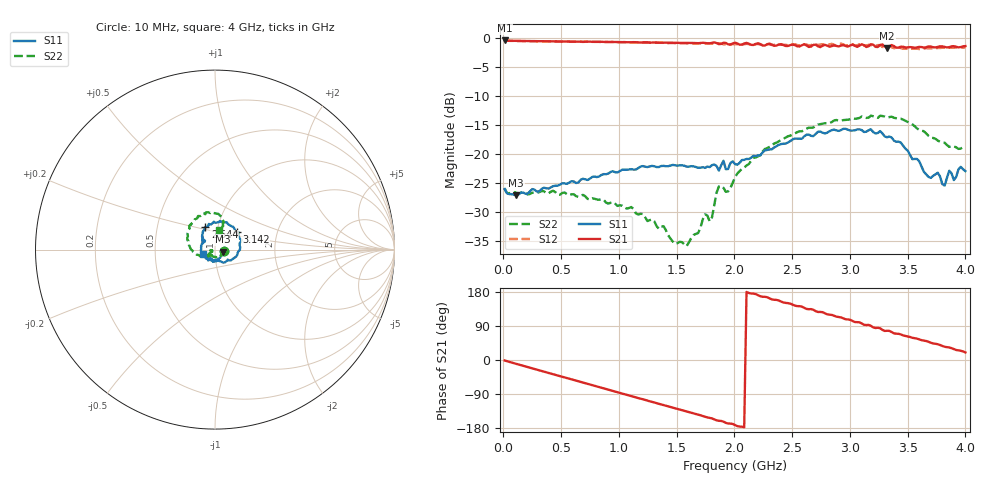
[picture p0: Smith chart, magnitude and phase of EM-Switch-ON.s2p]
! 9/28/2016 3:24:29 PM
! C:\USERS\ANRITSUUSER\DESKTOP\SWITCHES\EM-SWITCH-ON.S2P
! CHANNEL.1
! TR.MEASUREMENT
! CORRECTED.DATA
# GHZ S RI R 50.0
! FREQ.GHZ  S11RE  S11IM  S21RE  S21IM  S12RE  S12IM  S22RE  S22IM
!; PortSelection: Port_12
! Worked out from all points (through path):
!   201 points, 10 MHz to 4 GHz, reference 50 ohm
!   highest |S21| = -0.48 dB at 10 MHz (marker M1); lowest = -1.8 dB at 3.322 GHz (marker M2)
!   group delay of S21, straight-line fit = 235 ps
!   lowest |S11| = -27.1 dB at 109.8 MHz (marker M3), VSWR 1.09, Z = 54.5 - j1.16 ohm
!   |S11| at or under -10 dB: start of sweep to end of sweep
!   |S22| runs from -35.9 to -13.4 dB; largest |S21 - S12| = 0.059
!   S11 on the Smith chart (normalised r, x): 10 MHz: 1.10, -0.01; 2.544 GHz: 0.87, +0.22; 3.142 GHz: 1.25, +0.25; 4 GHz: 0.87, -0.04
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0.01  0.0495 -0.00519  0.9458 -0.0216  0.9427 -0.0327  0.0502 -0.00693
0.10975  0.043 -0.0106  0.9235 -0.1636  0.9219 -0.1611  0.0455 -0.00859
0.6883  -0.00556 -0.061  0.4676 -0.7944  0.4695 -0.7908  0.00668 -0.044
1.0474  -0.0624 -0.0381  -0.00301 -0.9163  0.00193 -0.9165  -0.0252 -0.0239
1.34665  -0.0769 0.00655  -0.3923 -0.815  -0.3886 -0.8149  -0.0223 -0.00432
1.58605  -0.071 0.0321  -0.6451 -0.6269  -0.6409 -0.6243  -0.0147 -0.00662
1.74565  -0.0631 0.0421  -0.7787 -0.4529  -0.7599 -0.4587  -0.0199 -0.0228
1.8055  -0.0668 0.0442  -0.8119 -0.3934  -0.8033 -0.3831  -0.0214 -0.0187
1.86535  -0.0567 0.0444  -0.8288 -0.2935  -0.8401 -0.3129  -0.0397 -0.0343
1.90525  -0.067 0.0561  -0.8639 -0.2682  -0.8409 -0.2529  -0.0336 -0.0385
1.94515  -0.0611 0.0421  -0.8558 -0.1878  -0.8512 -0.2133  -0.0327 -0.0346
2.005  -0.0626 0.0528  -0.8968 -0.1311  -0.8684 -0.1396  -0.0518 -0.0356
2.30425  -0.0708 0.0832  -0.8482 0.2662  -0.8386 0.2505  -0.1133 -0.0209
2.54365  -0.0546 0.124  -0.6651 0.5167  -0.6928 0.5172  -0.149 0.0382
2.6833  -0.0213 0.1407  -0.5871 0.6383  -0.5872 0.6463  -0.151 0.0757
3.14215  0.1202 0.0984  -0.0315 0.8311  -0.0302 0.8537  -0.0808 0.1874
3.3217  0.1371 0.0239  0.1817 0.7967  0.1941 0.8187  -0.0265 0.2036
3.34165  0.1404 0.0135  0.192 0.8199  0.2405 0.8136  -0.0231 0.2062
3.82045  -0.0261 -0.0466  0.6813 0.4777  0.659 0.4893  0.0367 0.1194
3.86035  -0.0372 -0.0613  0.6946 0.4517  0.6844 0.4475  0.0328 0.1102
3.90025  -0.0445 -0.0397  0.7413 0.4054  0.7107 0.4123  0.0335 0.1113
4  -0.0676 -0.0223  0.7958 0.2894  0.7685 0.3046  0.0216 0.1102
